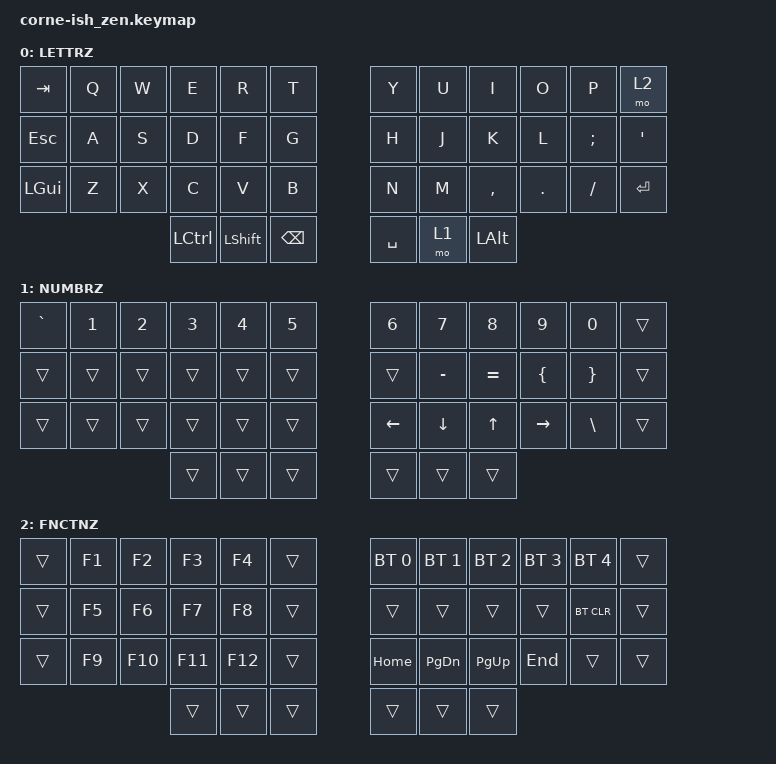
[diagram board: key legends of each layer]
/*
*
* Copyright (c) 2021 lowprokb.ca
* SPDX-License-Identifier: MIT
*
*/

#include <behaviors.dtsi>
#include <dt-bindings/zmk/keys.h>
#include <dt-bindings/zmk/bt.h>

#define LETTRZ 0
#define NUMBRZ 1
#define FNCTNZ 2

/ {
        keymap {
                compatible = "zmk,keymap";

                default_layer {
                        label = "LETTRZ";
// -----------------------------------------------------------------------------------------
// | TAB |  Q  |  W  |  E  |  R  |  T  |   |  Y  |  U   |  I  |  O  |  P  | RSE |
// | ESC |  A  |  S  |  D  |  F  |  G  |   |  H  |  J   |  K  |  L  |  ;  |  '  |
// | GUI |  Z  |  X  |  C  |  V  |  B  |   |  N  |  M   |  ,  |  .  |  /  | ENT |
//                   | CTL | SHF | BKS |   | SPC | LWR  | ALT |
                        bindings = <
   &kp TAB  &kp Q &kp W &kp E     &kp R     &kp T       &kp Y     &kp U &kp I     &kp O   &kp P    &mo 2
   &kp ESC  &kp A &kp S &kp D     &kp F     &kp G       &kp H     &kp J &kp K     &kp L   &kp SEMI &kp SQT
   &kp LGUI &kp Z &kp X &kp C     &kp V     &kp B       &kp N     &kp M &kp COMMA &kp DOT &kp FSLH &kp RET
                        &kp LCTRL &kp LSHFT &kp BSPC    &kp SPACE &mo 1 &kp LALT
                        >;
                };

                number_layer {
                        label = "NUMBRZ";
// -----------------------------------------------------------------------------------------
// |  `  |  1  |  2  |  3  |  4  |  5  |   |  6  |  7   |  8  |  9  |  0  |     |
// |     |     |     |     |     |     |   |     |  -   |  =  |  [  |  ]  |     |
// |     |     |     |     |     |     |   | LFT | DWN  | UP  | RGT |  \  |     |
//                   |     |     |     |   |     |      |     |
                        bindings = <
   &kp GRAVE &kp N1 &kp N2 &kp N3 &kp N4 &kp N5     &kp N6   &kp N7    &kp N8    &kp N9    &kp N0   &trans
   &trans    &trans &trans &trans &trans &trans     &trans   &kp MINUS &kp EQUAL &kp LBRC  &kp RBRC &trans
   &trans    &trans &trans &trans &trans &trans     &kp LEFT &kp DOWN  &kp UP    &kp RIGHT &kp BSLH &trans
                           &trans &trans &trans     &trans   &trans   &trans
                        >;
                };

                function_layer {
                        label = "FNCTNZ";
// -----------------------------------------------------------------------------------------
// |     | F1  | F2  | F3  | F4  |     |   | B1  | B2   | B3  | B4  | B5  |     |
// |     | F5  | F6  | F7  | F8  |     |   |     |      |     |     | BCLR|     |
// |     | F9  | F10 | F11 | F12 |     |   | HOME| PGDN | PGUP| END |     |     |
//                   |     |     |     |   |     |      |     |
                        bindings = <
   &trans   &kp F1   &kp F2  &kp F3  &kp F4   &trans      &bt BT_SEL 0 &bt BT_SEL 1 &bt BT_SEL 2 &bt BT_SEL 3 &bt BT_SEL 4 &trans
   &trans   &kp F5   &kp F6  &kp F7  &kp F8   &trans      &trans       &trans       &trans       &trans       &bt BT_CLR   &trans
   &trans   &kp F9   &kp F10 &kp F11 &kp F12  &trans      &kp HOME     &kp PG_DN    &kp PG_UP    &kp END      &trans       &trans
                             &trans  &trans   &trans      &trans       &trans       &trans
                        >;
                };
        };
};
